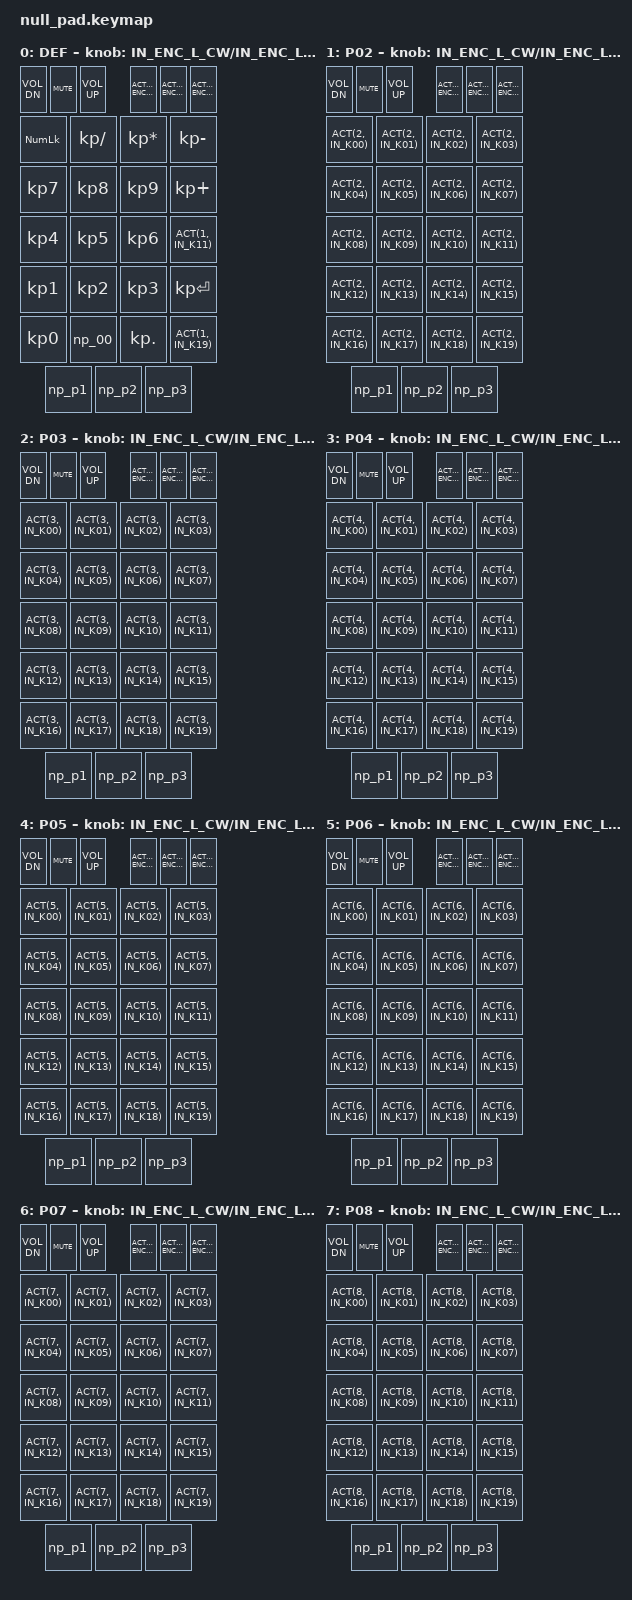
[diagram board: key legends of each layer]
#include <behaviors.dtsi>
#include <behaviors/np_sensor_keys.dtsi>
#include <dt-bindings/zmk/keys.h>
#include <dt-bindings/zmk/bt.h>
#include "null_pad_codes.h"

/ {
    macros {
        np_p1: np_p1 {
            compatible = "zmk,behavior-macro";
            #binding-cells = <0>;
            bindings = <&macro_tap &to 0 &kp ANN(1)>;
        };
        np_p2: np_p2 {
            compatible = "zmk,behavior-macro";
            #binding-cells = <0>;
            bindings = <&macro_tap &to 1 &kp ANN(2)>;
        };
        np_p3: np_p3 {
            compatible = "zmk,behavior-macro";
            #binding-cells = <0>;
            bindings = <&macro_tap &to 2 &kp ANN(3)>;
        };
        // p4-p8 : sur aucune touche, visibles dans Studio (le snippet Studio garde tous les comportements)
        np_p4: np_p4 {
            compatible = "zmk,behavior-macro";
            #binding-cells = <0>;
            bindings = <&macro_tap &to 3 &kp ANN(4)>;
        };
        np_p5: np_p5 {
            compatible = "zmk,behavior-macro";
            #binding-cells = <0>;
            bindings = <&macro_tap &to 4 &kp ANN(5)>;
        };
        np_p6: np_p6 {
            compatible = "zmk,behavior-macro";
            #binding-cells = <0>;
            bindings = <&macro_tap &to 5 &kp ANN(6)>;
        };
        np_p7: np_p7 {
            compatible = "zmk,behavior-macro";
            #binding-cells = <0>;
            bindings = <&macro_tap &to 6 &kp ANN(7)>;
        };
        np_p8: np_p8 {
            compatible = "zmk,behavior-macro";
            #binding-cells = <0>;
            bindings = <&macro_tap &to 7 &kp ANN(8)>;
        };
        np_00: np_00 {
            compatible = "zmk,behavior-macro";
            #binding-cells = <0>;
            bindings = <&macro_tap &kp KP_N0 &kp KP_N0>;
        };
    };

    combos {
        compatible = "zmk,combos";
        combo_studio_unlock {
            key-positions = <IN_M1 IN_M3>;
            bindings = <&studio_unlock>;
        };
    };

    keymap {
        compatible = "zmk,keymap";

        layer_def {
            display-name = "DEF";
            bindings = <
                &kp KP_NUMLOCK &kp KP_SLASH &kp KP_MULTIPLY &kp KP_MINUS
                &kp KP_N7 &kp KP_N8 &kp KP_N9 &kp KP_PLUS
                &kp KP_N4 &kp KP_N5 &kp KP_N6 &kp ACT(1, IN_K11)
                &kp KP_N1 &kp KP_N2 &kp KP_N3 &kp KP_ENTER
                &kp KP_N0 &np_00 &kp KP_DOT &kp ACT(1, IN_K19)
                &np_p1 &np_p2 &np_p3
                &kp C_VOL_UP &kp C_VOL_DN &kp C_MUTE
                &kp ACT(1, IN_ENC_R_CW) &kp ACT(1, IN_ENC_R_CCW) &kp ACT(1, IN_ENC_R_PRESS)
            >;
            sensor-bindings = <&np_enc IN_ENC_L_CW IN_ENC_L_CCW &np_enc IN_ENC_R_CW IN_ENC_R_CCW>;
        };

        layer_p02 {
            display-name = "P02";
            bindings = <
                &kp ACT(2, IN_K00) &kp ACT(2, IN_K01) &kp ACT(2, IN_K02) &kp ACT(2, IN_K03)
                &kp ACT(2, IN_K04) &kp ACT(2, IN_K05) &kp ACT(2, IN_K06) &kp ACT(2, IN_K07)
                &kp ACT(2, IN_K08) &kp ACT(2, IN_K09) &kp ACT(2, IN_K10) &kp ACT(2, IN_K11)
                &kp ACT(2, IN_K12) &kp ACT(2, IN_K13) &kp ACT(2, IN_K14) &kp ACT(2, IN_K15)
                &kp ACT(2, IN_K16) &kp ACT(2, IN_K17) &kp ACT(2, IN_K18) &kp ACT(2, IN_K19)
                &np_p1 &np_p2 &np_p3
                &kp C_VOL_UP &kp C_VOL_DN &kp C_MUTE
                &kp ACT(2, IN_ENC_R_CW) &kp ACT(2, IN_ENC_R_CCW) &kp ACT(2, IN_ENC_R_PRESS)
            >;
            sensor-bindings = <&np_enc IN_ENC_L_CW IN_ENC_L_CCW &np_enc IN_ENC_R_CW IN_ENC_R_CCW>;
        };

        layer_p03 {
            display-name = "P03";
            bindings = <
                &kp ACT(3, IN_K00) &kp ACT(3, IN_K01) &kp ACT(3, IN_K02) &kp ACT(3, IN_K03)
                &kp ACT(3, IN_K04) &kp ACT(3, IN_K05) &kp ACT(3, IN_K06) &kp ACT(3, IN_K07)
                &kp ACT(3, IN_K08) &kp ACT(3, IN_K09) &kp ACT(3, IN_K10) &kp ACT(3, IN_K11)
                &kp ACT(3, IN_K12) &kp ACT(3, IN_K13) &kp ACT(3, IN_K14) &kp ACT(3, IN_K15)
                &kp ACT(3, IN_K16) &kp ACT(3, IN_K17) &kp ACT(3, IN_K18) &kp ACT(3, IN_K19)
                &np_p1 &np_p2 &np_p3
                &kp C_VOL_UP &kp C_VOL_DN &kp C_MUTE
                &kp ACT(3, IN_ENC_R_CW) &kp ACT(3, IN_ENC_R_CCW) &kp ACT(3, IN_ENC_R_PRESS)
            >;
            sensor-bindings = <&np_enc IN_ENC_L_CW IN_ENC_L_CCW &np_enc IN_ENC_R_CW IN_ENC_R_CCW>;
        };

        layer_p04 {
            display-name = "P04";
            bindings = <
                &kp ACT(4, IN_K00) &kp ACT(4, IN_K01) &kp ACT(4, IN_K02) &kp ACT(4, IN_K03)
                &kp ACT(4, IN_K04) &kp ACT(4, IN_K05) &kp ACT(4, IN_K06) &kp ACT(4, IN_K07)
                &kp ACT(4, IN_K08) &kp ACT(4, IN_K09) &kp ACT(4, IN_K10) &kp ACT(4, IN_K11)
                &kp ACT(4, IN_K12) &kp ACT(4, IN_K13) &kp ACT(4, IN_K14) &kp ACT(4, IN_K15)
                &kp ACT(4, IN_K16) &kp ACT(4, IN_K17) &kp ACT(4, IN_K18) &kp ACT(4, IN_K19)
                &np_p1 &np_p2 &np_p3
                &kp C_VOL_UP &kp C_VOL_DN &kp C_MUTE
                &kp ACT(4, IN_ENC_R_CW) &kp ACT(4, IN_ENC_R_CCW) &kp ACT(4, IN_ENC_R_PRESS)
            >;
            sensor-bindings = <&np_enc IN_ENC_L_CW IN_ENC_L_CCW &np_enc IN_ENC_R_CW IN_ENC_R_CCW>;
        };

        layer_p05 {
            display-name = "P05";
            bindings = <
                &kp ACT(5, IN_K00) &kp ACT(5, IN_K01) &kp ACT(5, IN_K02) &kp ACT(5, IN_K03)
                &kp ACT(5, IN_K04) &kp ACT(5, IN_K05) &kp ACT(5, IN_K06) &kp ACT(5, IN_K07)
                &kp ACT(5, IN_K08) &kp ACT(5, IN_K09) &kp ACT(5, IN_K10) &kp ACT(5, IN_K11)
                &kp ACT(5, IN_K12) &kp ACT(5, IN_K13) &kp ACT(5, IN_K14) &kp ACT(5, IN_K15)
                &kp ACT(5, IN_K16) &kp ACT(5, IN_K17) &kp ACT(5, IN_K18) &kp ACT(5, IN_K19)
                &np_p1 &np_p2 &np_p3
                &kp C_VOL_UP &kp C_VOL_DN &kp C_MUTE
                &kp ACT(5, IN_ENC_R_CW) &kp ACT(5, IN_ENC_R_CCW) &kp ACT(5, IN_ENC_R_PRESS)
            >;
            sensor-bindings = <&np_enc IN_ENC_L_CW IN_ENC_L_CCW &np_enc IN_ENC_R_CW IN_ENC_R_CCW>;
        };

        layer_p06 {
            display-name = "P06";
            bindings = <
                &kp ACT(6, IN_K00) &kp ACT(6, IN_K01) &kp ACT(6, IN_K02) &kp ACT(6, IN_K03)
                &kp ACT(6, IN_K04) &kp ACT(6, IN_K05) &kp ACT(6, IN_K06) &kp ACT(6, IN_K07)
                &kp ACT(6, IN_K08) &kp ACT(6, IN_K09) &kp ACT(6, IN_K10) &kp ACT(6, IN_K11)
                &kp ACT(6, IN_K12) &kp ACT(6, IN_K13) &kp ACT(6, IN_K14) &kp ACT(6, IN_K15)
                &kp ACT(6, IN_K16) &kp ACT(6, IN_K17) &kp ACT(6, IN_K18) &kp ACT(6, IN_K19)
                &np_p1 &np_p2 &np_p3
                &kp C_VOL_UP &kp C_VOL_DN &kp C_MUTE
                &kp ACT(6, IN_ENC_R_CW) &kp ACT(6, IN_ENC_R_CCW) &kp ACT(6, IN_ENC_R_PRESS)
            >;
            sensor-bindings = <&np_enc IN_ENC_L_CW IN_ENC_L_CCW &np_enc IN_ENC_R_CW IN_ENC_R_CCW>;
        };

        layer_p07 {
            display-name = "P07";
            bindings = <
                &kp ACT(7, IN_K00) &kp ACT(7, IN_K01) &kp ACT(7, IN_K02) &kp ACT(7, IN_K03)
                &kp ACT(7, IN_K04) &kp ACT(7, IN_K05) &kp ACT(7, IN_K06) &kp ACT(7, IN_K07)
                &kp ACT(7, IN_K08) &kp ACT(7, IN_K09) &kp ACT(7, IN_K10) &kp ACT(7, IN_K11)
                &kp ACT(7, IN_K12) &kp ACT(7, IN_K13) &kp ACT(7, IN_K14) &kp ACT(7, IN_K15)
                &kp ACT(7, IN_K16) &kp ACT(7, IN_K17) &kp ACT(7, IN_K18) &kp ACT(7, IN_K19)
                &np_p1 &np_p2 &np_p3
                &kp C_VOL_UP &kp C_VOL_DN &kp C_MUTE
                &kp ACT(7, IN_ENC_R_CW) &kp ACT(7, IN_ENC_R_CCW) &kp ACT(7, IN_ENC_R_PRESS)
            >;
            sensor-bindings = <&np_enc IN_ENC_L_CW IN_ENC_L_CCW &np_enc IN_ENC_R_CW IN_ENC_R_CCW>;
        };

        layer_p08 {
            display-name = "P08";
            bindings = <
                &kp ACT(8, IN_K00) &kp ACT(8, IN_K01) &kp ACT(8, IN_K02) &kp ACT(8, IN_K03)
                &kp ACT(8, IN_K04) &kp ACT(8, IN_K05) &kp ACT(8, IN_K06) &kp ACT(8, IN_K07)
                &kp ACT(8, IN_K08) &kp ACT(8, IN_K09) &kp ACT(8, IN_K10) &kp ACT(8, IN_K11)
                &kp ACT(8, IN_K12) &kp ACT(8, IN_K13) &kp ACT(8, IN_K14) &kp ACT(8, IN_K15)
                &kp ACT(8, IN_K16) &kp ACT(8, IN_K17) &kp ACT(8, IN_K18) &kp ACT(8, IN_K19)
                &np_p1 &np_p2 &np_p3
                &kp C_VOL_UP &kp C_VOL_DN &kp C_MUTE
                &kp ACT(8, IN_ENC_R_CW) &kp ACT(8, IN_ENC_R_CCW) &kp ACT(8, IN_ENC_R_PRESS)
            >;
            sensor-bindings = <&np_enc IN_ENC_L_CW IN_ENC_L_CCW &np_enc IN_ENC_R_CW IN_ENC_R_CCW>;
        };
    };
};
